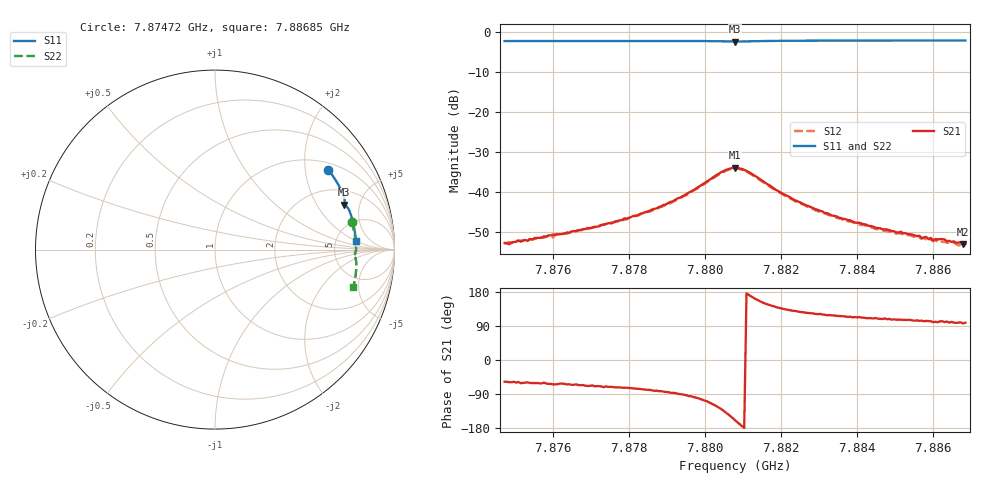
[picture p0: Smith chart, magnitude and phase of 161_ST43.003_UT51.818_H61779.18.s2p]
#  HZ  S  DB  R  50.00
! Rohde & Schwarz Vector Network Analyzer
! Rohde-Schwarz,ZNB20-2Port,1311601062101988,3.16
! Created: UTC 1/12/2023, 6:41:17 PM
! freq[Hz]  db:S11  ang:S11  db:S21  ang:S21  db:S12  ang:S12  db:S22  ang:S22
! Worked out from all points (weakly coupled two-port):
!   201 points, 7.87472 GHz to 7.88685 GHz, reference 50 ohm
!   highest |S21| = -33.94 dB at 7.88078 GHz (marker M1); lowest = -53.1 dB at 7.88679 GHz (marker M2)
!   lowest |S11| = -2.4 dB at 7.88078 GHz (marker M3), VSWR 7.42, Z = 148 + j178 ohm
!   |S11| at or under -10 dB: nowhere
!   |S22| runs from -2.3 to -1.9 dB; largest |S21 - S12| = 0.0012
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7.874716e9  -2.24 35.2  -52.74 -57.3  -52.95 -59.6  -2.19 11.2
7.874838e9  -2.24 34.9  -53.07 -58.5  -52.49 -63.3  -2.19 11.0
7.875869e9  -2.22 32.1  -50.84 -63.1  -50.92 -66.1  -2.15 8.5
7.87599e9  -2.22 31.7  -50.62 -64.3  -51.38 -67.8  -2.15 8.2
7.876051e9  -2.22 31.6  -50.65 -64.3  -50.70 -66.6  -2.15 8.1
7.876778e9  -2.21 29.6  -49.28 -66.2  -49.50 -70.1  -2.13 6.3
7.87781e9  -2.20 26.8  -47.00 -73.3  -47.12 -77.2  -2.10 3.9
7.87878e9  -2.19 24.1  -43.73 -82.3  -43.91 -85.9  -2.09 1.6
7.879508e9  -2.21 22.0  -40.46 -93.2  -40.73 -97.0  -2.09 -0.2
7.880418e9  -2.31 19.5  -35.03 -129.4  -35.25 -132.9  -2.21 -2.2
7.880782e9  -2.35 19.2  -33.94 -158.6  -34.14 -162.0  -2.25 -2.4
7.881085e9  -2.32 18.9  -34.72 176.1  -34.89 173.0  -2.22 -2.5
7.881995e9  -2.18 16.6  -40.18 136.4  -40.34 133.0  -2.07 -4.4
7.882844e9  -2.14 14.2  -44.02 122.8  -44.26 119.4  -2.02 -6.4
7.883936e9  -2.12 11.3  -47.61 113.3  -47.72 109.9  -1.99 -9.0
7.884845e9  -2.11 8.9  -49.54 108.5  -49.88 104.2  -1.97 -11.0
7.885695e9  -2.10 6.7  -51.50 103.9  -51.69 100.8  -1.96 -12.8
7.885937e9  -2.09 6.0  -51.47 102.1  -51.89 98.6  -1.96 -13.3
7.885998e9  -2.09 5.9  -52.07 100.1  -52.29 98.0  -1.95 -13.5
7.886301e9  -2.09 5.1  -51.85 100.2  -52.44 97.1  -1.96 -14.1
7.886786e9  -2.08 3.8  -53.11 96.4  -53.14 95.7  -1.95 -15.2
7.886847e9  -2.09 3.7  -52.99 98.5  -53.54 93.2  -1.95 -15.3
